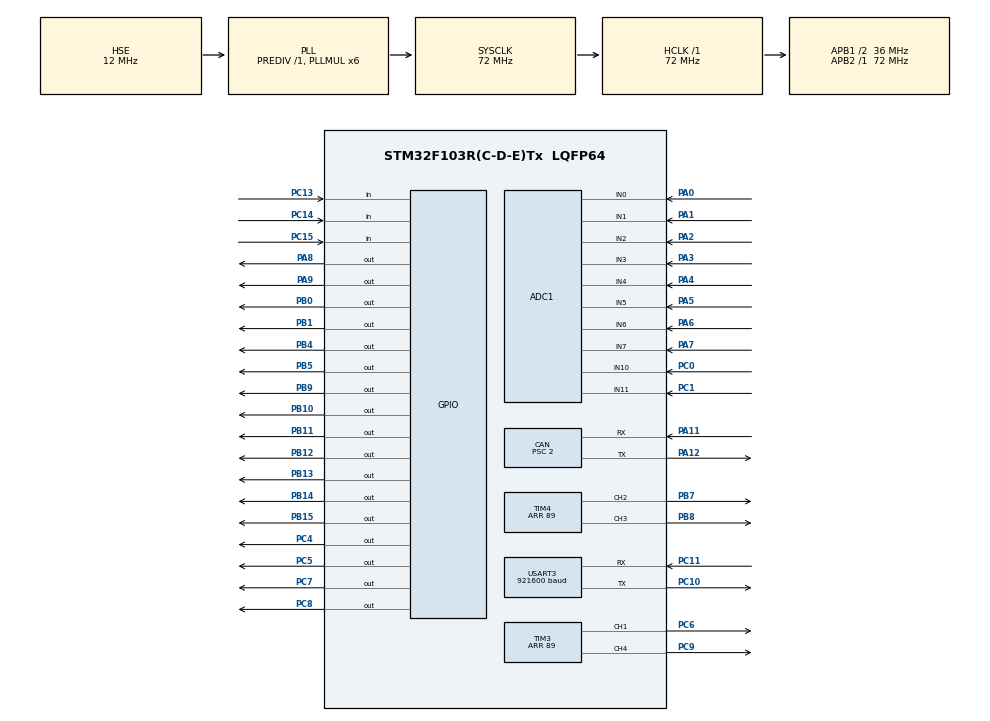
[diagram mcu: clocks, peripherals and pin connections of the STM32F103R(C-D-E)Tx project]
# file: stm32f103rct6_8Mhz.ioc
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ADC1.Channel-0\#ChannelRegularConversion=ADC_CHANNEL_0
ADC1.Channel-1\#ChannelRegularConversion=ADC_CHANNEL_1
ADC1.Channel-2\#ChannelRegularConversion=ADC_CHANNEL_2
ADC1.Channel-3\#ChannelRegularConversion=ADC_CHANNEL_3
ADC1.Channel-4\#ChannelRegularConversion=ADC_CHANNEL_4
ADC1.Channel-5\#ChannelRegularConversion=ADC_CHANNEL_5
ADC1.Channel-6\#ChannelRegularConversion=ADC_CHANNEL_6
ADC1.Channel-7\#ChannelRegularConversion=ADC_CHANNEL_7
ADC1.Channel-8\#ChannelRegularConversion=ADC_CHANNEL_10
ADC1.Channel-9\#ChannelRegularConversion=ADC_CHANNEL_11
ADC1.ContinuousConvMode=ENABLE
ADC1.NbrOfConversion=10
ADC1.NbrOfConversionFlag=1
ADC1.Rank-0\#ChannelRegularConversion=1
ADC1.Rank-1\#ChannelRegularConversion=2
ADC1.Rank-2\#ChannelRegularConversion=3
ADC1.Rank-3\#ChannelRegularConversion=4
ADC1.Rank-4\#ChannelRegularConversion=5
ADC1.Rank-5\#ChannelRegularConversion=6
ADC1.Rank-6\#ChannelRegularConversion=7
ADC1.Rank-7\#ChannelRegularConversion=8
ADC1.Rank-8\#ChannelRegularConversion=9
ADC1.Rank-9\#ChannelRegularConversion=10
ADC1.SamplingTime-0\#ChannelRegularConversion=ADC_SAMPLETIME_1CYCLE_5
ADC1.SamplingTime-1\#ChannelRegularConversion=ADC_SAMPLETIME_1CYCLE_5
ADC1.SamplingTime-2\#ChannelRegularConversion=ADC_SAMPLETIME_1CYCLE_5
ADC1.SamplingTime-3\#ChannelRegularConversion=ADC_SAMPLETIME_1CYCLE_5
ADC1.SamplingTime-4\#ChannelRegularConversion=ADC_SAMPLETIME_1CYCLE_5
ADC1.SamplingTime-5\#ChannelRegularConversion=ADC_SAMPLETIME_1CYCLE_5
ADC1.SamplingTime-6\#ChannelRegularConversion=ADC_SAMPLETIME_1CYCLE_5
ADC1.SamplingTime-7\#ChannelRegularConversion=ADC_SAMPLETIME_1CYCLE_5
ADC1.SamplingTime-8\#ChannelRegularConversion=ADC_SAMPLETIME_1CYCLE_5
ADC1.SamplingTime-9\#ChannelRegularConversion=ADC_SAMPLETIME_1CYCLE_5
ADC1.master=1
CAN.ABOM=ENABLE
CAN.BS1=CAN_BS1_14TQ
CAN.BS2=CAN_BS2_3TQ
CAN.CalculateBaudRate=1000000
CAN.CalculateTimeBit=1000
CAN.CalculateTimeQuantum=55.55555555555556
CAN.Prescaler=2
Dma.ADC1.4.Direction=DMA_PERIPH_TO_MEMORY
Dma.ADC1.4.Instance=DMA1_Channel1
Dma.ADC1.4.MemDataAlignment=DMA_MDATAALIGN_HALFWORD
Dma.ADC1.4.MemInc=DMA_MINC_ENABLE
Dma.ADC1.4.Mode=DMA_CIRCULAR
Dma.ADC1.4.PeriphDataAlignment=DMA_PDATAALIGN_HALFWORD
Dma.ADC1.4.PeriphInc=DMA_PINC_DISABLE
Dma.ADC1.4.Priority=DMA_PRIORITY_LOW
Dma.Request0=TIM3_CH1/TRIG
Dma.Request1=TIM3_CH4/UP
Dma.Request2=TIM4_CH2
Dma.Request3=TIM4_CH3
Dma.Request4=ADC1
Dma.Request5=USART3_TX
Dma.TIM3_CH1/TRIG.0.Direction=DMA_MEMORY_TO_PERIPH
Dma.TIM3_CH1/TRIG.0.Instance=DMA1_Channel6
Dma.TIM3_CH1/TRIG.0.MemDataAlignment=DMA_MDATAALIGN_HALFWORD
Dma.TIM3_CH1/TRIG.0.MemInc=DMA_MINC_ENABLE
Dma.TIM3_CH1/TRIG.0.Mode=DMA_NORMAL
Dma.TIM3_CH1/TRIG.0.PeriphDataAlignment=DMA_PDATAALIGN_HALFWORD
Dma.TIM3_CH1/TRIG.0.PeriphInc=DMA_PINC_DISABLE
Dma.TIM3_CH1/TRIG.0.Priority=DMA_PRIORITY_HIGH
Dma.TIM3_CH4/UP.1.Direction=DMA_MEMORY_TO_PERIPH
Dma.TIM3_CH4/UP.1.Instance=DMA1_Channel3
Dma.TIM3_CH4/UP.1.MemDataAlignment=DMA_MDATAALIGN_HALFWORD
Dma.TIM3_CH4/UP.1.MemInc=DMA_MINC_ENABLE
Dma.TIM3_CH4/UP.1.Mode=DMA_NORMAL
Dma.TIM3_CH4/UP.1.PeriphDataAlignment=DMA_PDATAALIGN_HALFWORD
Dma.TIM3_CH4/UP.1.PeriphInc=DMA_PINC_DISABLE
Dma.TIM3_CH4/UP.1.Priority=DMA_PRIORITY_HIGH
Dma.TIM4_CH2.2.Direction=DMA_MEMORY_TO_PERIPH
Dma.TIM4_CH2.2.Instance=DMA1_Channel4
Dma.TIM4_CH2.2.MemDataAlignment=DMA_MDATAALIGN_HALFWORD
Dma.TIM4_CH2.2.MemInc=DMA_MINC_ENABLE
Dma.TIM4_CH2.2.Mode=DMA_NORMAL
Dma.TIM4_CH2.2.PeriphDataAlignment=DMA_PDATAALIGN_HALFWORD
Dma.TIM4_CH2.2.PeriphInc=DMA_PINC_DISABLE
Dma.TIM4_CH2.2.Priority=DMA_PRIORITY_LOW
Dma.TIM4_CH3.3.Direction=DMA_MEMORY_TO_PERIPH
Dma.TIM4_CH3.3.Instance=DMA1_Channel5
Dma.TIM4_CH3.3.MemDataAlignment=DMA_MDATAALIGN_HALFWORD
Dma.TIM4_CH3.3.MemInc=DMA_MINC_ENABLE
Dma.TIM4_CH3.3.Mode=DMA_NORMAL
Dma.TIM4_CH3.3.PeriphDataAlignment=DMA_PDATAALIGN_HALFWORD
Dma.TIM4_CH3.3.PeriphInc=DMA_PINC_DISABLE
Dma.TIM4_CH3.3.Priority=DMA_PRIORITY_LOW
Dma.USART3_TX.5.Direction=DMA_MEMORY_TO_PERIPH
Dma.USART3_TX.5.Instance=DMA1_Channel2
Dma.USART3_TX.5.MemDataAlignment=DMA_MDATAALIGN_BYTE
Dma.USART3_TX.5.MemInc=DMA_MINC_ENABLE
Dma.USART3_TX.5.Mode=DMA_NORMAL
Dma.USART3_TX.5.PeriphDataAlignment=DMA_PDATAALIGN_BYTE
Dma.USART3_TX.5.PeriphInc=DMA_PINC_DISABLE
Dma.USART3_TX.5.Priority=DMA_PRIORITY_LOW
Mcu.Family=STM32F1
Mcu.Name=STM32F103R(C-D-E)Tx
Mcu.Package=LQFP64
NVIC.CAN1_RX1_IRQn=true\:3\:0\:true\:false\:true\:true\:true\:true
NVIC.DMA1_Channel1_IRQn=true\:0\:0\:false\:false\:true\:false\:true\:true
NVIC.DMA1_Channel2_IRQn=true\:0\:0\:false\:false\:true\:false\:true\:true
NVIC.DMA1_Channel3_IRQn=true\:1\:0\:true\:false\:true\:false\:true\:true
NVIC.DMA1_Channel4_IRQn=true\:1\:0\:true\:false\:true\:false\:true\:true
NVIC.DMA1_Channel5_IRQn=true\:1\:0\:true\:false\:true\:false\:true\:true
NVIC.DMA1_Channel6_IRQn=true\:1\:0\:true\:false\:true\:false\:true\:true
NVIC.PriorityGroup=NVIC_PRIORITYGROUP_4
NVIC.TIM5_IRQn=true\:2\:0\:true\:false\:true\:true\:true\:true
NVIC.USART3_IRQn=true\:3\:0\:true\:false\:true\:true\:true\:true
NVIC.USB_LP_CAN1_RX0_IRQn=true\:3\:0\:true\:false\:true\:true\:true\:true
PA0-WKUP.Signal=ADCx_IN0
PA1.Signal=ADCx_IN1
PA11.GPIO_PuPd=GPIO_PULLUP
PA11.Mode=CAN_Activate
PA11.Signal=CAN_RX
PA12.Mode=CAN_Activate
PA12.Signal=CAN_TX
PA13.Mode=Serial_Wire
PA13.Signal=SYS_JTMS-SWDIO
PA14.Mode=Serial_Wire
PA14.Signal=SYS_JTCK-SWCLK
PA2.Signal=ADCx_IN2
PA3.Signal=ADCx_IN3
PA4.Signal=ADCx_IN4
PA5.Signal=ADCx_IN5
PA6.Signal=ADCx_IN6
PA7.Signal=ADCx_IN7
PA8.Signal=GPIO_Output
PA9.Signal=GPIO_Output
PB0.Signal=GPIO_Output
PB1.Signal=GPIO_Output
PB10.Signal=GPIO_Output
PB11.GPIO_PuPd=GPIO_NOPULL
PB11.PinState=GPIO_PIN_RESET
PB11.Signal=GPIO_Output
PB12.Signal=GPIO_Output
PB13.Signal=GPIO_Output
PB14.Signal=GPIO_Output
PB15.Signal=GPIO_Output
PB4.Signal=GPIO_Output
PB5.Signal=GPIO_Output
PB7.GPIO_ModeDefaultPP=GPIO_MODE_AF_PP
PB7.GPIO_Speed=GPIO_SPEED_FREQ_HIGH
PB7.Signal=S_TIM4_CH2
PB8.GPIO_ModeDefaultPP=GPIO_MODE_AF_PP
PB8.GPIO_Speed=GPIO_SPEED_FREQ_HIGH
PB8.Signal=S_TIM4_CH3
PB9.Signal=GPIO_Output
PC0.Signal=ADCx_IN10
PC1.Signal=ADCx_IN11
PC10.Mode=Asynchronous
PC10.Signal=USART3_TX
PC11.GPIO_PuPd=GPIO_PULLUP
PC11.Mode=Asynchronous
PC11.Signal=USART3_RX
PC13-TAMPER-RTC.Signal=GPIO_Input
PC14-OSC32_IN.Signal=GPIO_Input
PC15-OSC32_OUT.Signal=GPIO_Input
PC4.Signal=GPIO_Output
PC5.Signal=GPIO_Output
PC6.GPIO_ModeDefaultPP=GPIO_MODE_AF_PP
PC6.GPIO_Speed=GPIO_SPEED_FREQ_HIGH
PC6.Signal=S_TIM3_CH1
PC7.Signal=GPIO_Output
PC8.Signal=GPIO_Output
PC9.GPIO_ModeDefaultPP=GPIO_MODE_AF_PP
PC9.GPIO_Speed=GPIO_SPEED_FREQ_HIGH
PC9.Signal=S_TIM3_CH4
PD0-OSC_IN.Mode=HSE-External-Oscillator
PD0-OSC_IN.Signal=RCC_OSC_IN
PD1-OSC_OUT.Mode=HSE-External-Oscillator
PD1-OSC_OUT.Signal=RCC_OSC_OUT
ProjectManager.HeapSize=0x200
ProjectManager.StackSize=0x400
ProjectManager.TargetToolchain=MDK-ARM V5.32
RCC.ADCPresc=RCC_ADCPCLK2_DIV6
RCC.AHBFreq_Value=72000000
RCC.APB1CLKDivider=RCC_HCLK_DIV2
RCC.APB1Freq_Value=36000000
RCC.APB1TimFreq_Value=72000000
RCC.APB2Freq_Value=72000000
RCC.APB2TimFreq_Value=72000000
RCC.EnbaleCSS=true
RCC.HCLKFreq_Value=72000000
RCC.HSE_VALUE=12000000
RCC.PLLMUL=RCC_PLL_MUL6
RCC.PLLSourceVirtual=RCC_PLLSOURCE_HSE
RCC.SYSCLKFreq_VALUE=72000000
RCC.SYSCLKSource=RCC_SYSCLKSOURCE_PLLCLK
RCC.USBFreq_Value=72000000
SH.ADCx_IN0.0=ADC1_IN0,IN0
SH.ADCx_IN1.0=ADC1_IN1,IN1
SH.ADCx_IN10.0=ADC1_IN10,IN10
SH.ADCx_IN11.0=ADC1_IN11,IN11
SH.ADCx_IN2.0=ADC1_IN2,IN2
SH.ADCx_IN3.0=ADC1_IN3,IN3
SH.ADCx_IN4.0=ADC1_IN4,IN4
SH.ADCx_IN5.0=ADC1_IN5,IN5
SH.ADCx_IN6.0=ADC1_IN6,IN6
SH.ADCx_IN7.0=ADC1_IN7,IN7
SH.S_TIM3_CH1.0=TIM3_CH1,PWM Generation1 CH1
SH.S_TIM3_CH4.0=TIM3_CH4,PWM Generation4 CH4
SH.S_TIM4_CH2.0=TIM4_CH2,PWM Generation2 CH2
SH.S_TIM4_CH3.0=TIM4_CH3,PWM Generation3 CH3
TIM3.AutoReloadPreload=TIM_AUTORELOAD_PRELOAD_DISABLE
TIM3.Channel-PWM\ Generation1\ CH1=TIM_CHANNEL_1
TIM3.Channel-PWM\ Generation4\ CH4=TIM_CHANNEL_4
TIM3.Period=89
TIM4.AutoReloadPreload=TIM_AUTORELOAD_PRELOAD_ENABLE
TIM4.Channel-PWM\ Generation2\ CH2=TIM_CHANNEL_2
TIM4.Channel-PWM\ Generation3\ CH3=TIM_CHANNEL_3
TIM4.Period=89
TIM5.Period=25-1
TIM5.Prescaler=72-1
USART3.BaudRate=921600
USART3.VirtualMode=VM_ASYNC
VP_TIM3_VS_ClockSourceINT.Mode=Internal
VP_TIM4_VS_ClockSourceINT.Mode=Internal
VP_TIM5_VS_ClockSourceINT.Mode=Internal
board=custom

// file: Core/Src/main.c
/* USER CODE BEGIN Header */
/**
  ******************************************************************************
  * @file           : main.c
  * @brief          : Main program body
  ******************************************************************************
  * @attention
  *
  * Copyright (c) 2026 STMicroelectronics.
  * All rights reserved.
  *
  * This software is licensed under terms that can be found in the LICENSE file
  * in the root directory of this software component.
  * If no LICENSE file comes with this software, it is provided AS-IS.
  *
  ******************************************************************************
  */
/* USER CODE END Header */
#include "main.h"
#include "adc.h"
#include "can.h"
#include "dma.h"
#include "tim.h"
#include "usart.h"
#include "gpio.h"

/* USER CODE BEGIN Includes */
#include "robot_config.h"

/* USER CODE END Includes */

void SystemClock_Config(void);

int main(void)
{

  /* MCU Configuration--------------------------------------------------------*/

  /* Reset of all peripherals, Initializes the Flash interface and the Systick. */
  HAL_Init();

  /* Configure the system clock */
  SystemClock_Config();

  /* Initialize all configured peripherals */
  MX_GPIO_Init();
  MX_DMA_Init();
  MX_USART3_UART_Init();
  MX_ADC1_Init();
  MX_TIM3_Init();
  MX_TIM4_Init();
  MX_CAN_Init();
  MX_TIM5_Init();
  /* USER CODE BEGIN 2 */
      /*
    {GPIOA, GPIO_PIN_8},//1环
    {GPIOC, GPIO_PIN_7},
    {GPIOB, GPIO_PIN_12},
    {GPIOB, GPIO_PIN_13},
    {GPIOB, GPIO_PIN_14},
    {GPIOB, GPIO_PIN_15},
    {GPIOB, GPIO_PIN_11},
    {GPIOB, GPIO_PIN_10},
    {GPIOC, GPIO_PIN_5},
    {GPIOC, GPIO_PIN_4}
    */
    //测试代码,直接写10个灯珠的引脚,然后关闭,验证引脚连接和控制逻辑是否正确
    #if 0
    HAL_GPIO_WritePin(GPIOB, GPIO_PIN_0, GPIO_PIN_SET); // 红色控制引脚
    HAL_GPIO_WritePin(GPIOB, GPIO_PIN_1, GPIO_PIN_SET); // 蓝色控制引脚
    HAL_GPIO_WritePin(GPIOA, GPIO_PIN_8, GPIO_PIN_SET); // 1环
    HAL_GPIO_WritePin(GPIOA, GPIO_PIN_8, GPIO_PIN_RESET); // 1环灭
    HAL_GPIO_WritePin(GPIOC, GPIO_PIN_7, GPIO_PIN_SET); // 2环
    HAL_GPIO_WritePin(GPIOC, GPIO_PIN_7, GPIO_PIN_RESET); // 2环灭
    HAL_GPIO_WritePin(GPIOB, GPIO_PIN_12, GPIO_PIN_SET); // 3环 ,cuo
    HAL_GPIO_WritePin(GPIOB, GPIO_PIN_12, GPIO_PIN_RESET); // 3环灭
    HAL_GPIO_WritePin(GPIOB, GPIO_PIN_13, GPIO_PIN_SET); // 4环
    HAL_GPIO_WritePin(GPIOB, GPIO_PIN_13, GPIO_PIN_RESET); // 4环灭
    HAL_GPIO_WritePin(GPIOB, GPIO_PIN_14, GPIO_PIN_SET); // 5环
    HAL_GPIO_WritePin(GPIOB, GPIO_PIN_14, GPIO_PIN_RESET); // 5环灭
    HAL_GPIO_WritePin(GPIOB, GPIO_PIN_15, GPIO_PIN_SET); // 6环
    HAL_GPIO_WritePin(GPIOB, GPIO_PIN_15, GPIO_PIN_RESET); // 6环灭
    HAL_GPIO_WritePin(GPIOB, GPIO_PIN_11, GPIO_PIN_SET); // 7环 , 3
    HAL_GPIO_WritePin(GPIOB, GPIO_PIN_11, GPIO_PIN_RESET); // 7环灭
    HAL_GPIO_WritePin(GPIOB, GPIO_PIN_10, GPIO_PIN_SET); // 8环 ,4
    HAL_GPIO_WritePin(GPIOB, GPIO_PIN_10, GPIO_PIN_RESET); // 8环灭
    HAL_GPIO_WritePin(GPIOC, GPIO_PIN_5, GPIO_PIN_SET); // 9环,5
    HAL_GPIO_WritePin(GPIOC, GPIO_PIN_5, GPIO_PIN_RESET); // 9环灭
    HAL_GPIO_WritePin(GPIOC, GPIO_PIN_4, GPIO_PIN_SET); // 10环  , 6
    HAL_GPIO_WritePin(GPIOC, GPIO_PIN_4, GPIO_PIN_RESET); // 10环灭 ,
    #endif
    System_Tasks_Init();

  /* USER CODE END 2 */

  /* Infinite loop */
  /* USER CODE BEGIN WHILE */
    while (1)
    {
        System_Tasks_Run();
    /* USER CODE END WHILE */

    }
}

void SystemClock_Config(void)
{
  RCC_OscInitTypeDef RCC_OscInitStruct = {0};
  RCC_ClkInitTypeDef RCC_ClkInitStruct = {0};
  RCC_PeriphCLKInitTypeDef PeriphClkInit = {0};

  /** Initializes the RCC Oscillators according to the specified parameters
  * in the RCC_OscInitTypeDef structure.
  */
  RCC_OscInitStruct.OscillatorType = RCC_OSCILLATORTYPE_HSE;
  RCC_OscInitStruct.HSEState = RCC_HSE_ON;
  RCC_OscInitStruct.HSEPredivValue = RCC_HSE_PREDIV_DIV1;
  RCC_OscInitStruct.HSIState = RCC_HSI_ON;
  RCC_OscInitStruct.PLL.PLLState = RCC_PLL_ON;
  RCC_OscInitStruct.PLL.PLLSource = RCC_PLLSOURCE_HSE;
  RCC_OscInitStruct.PLL.PLLMUL = RCC_PLL_MUL6;
  if (HAL_RCC_OscConfig(&RCC_OscInitStruct) != HAL_OK)
  {
    Error_Handler();
  }

  /** Initializes the CPU, AHB and APB buses clocks
  */
  RCC_ClkInitStruct.ClockType = RCC_CLOCKTYPE_HCLK|RCC_CLOCKTYPE_SYSCLK
                              |RCC_CLOCKTYPE_PCLK1|RCC_CLOCKTYPE_PCLK2;
  RCC_ClkInitStruct.SYSCLKSource = RCC_SYSCLKSOURCE_PLLCLK;
  RCC_ClkInitStruct.AHBCLKDivider = RCC_SYSCLK_DIV1;
  RCC_ClkInitStruct.APB1CLKDivider = RCC_HCLK_DIV2;
  RCC_ClkInitStruct.APB2CLKDivider = RCC_HCLK_DIV1;

  if (HAL_RCC_ClockConfig(&RCC_ClkInitStruct, FLASH_LATENCY_2) != HAL_OK)
  {
    Error_Handler();
  }
  PeriphClkInit.PeriphClockSelection = RCC_PERIPHCLK_ADC;
  PeriphClkInit.AdcClockSelection = RCC_ADCPCLK2_DIV6;
  if (HAL_RCCEx_PeriphCLKConfig(&PeriphClkInit) != HAL_OK)
  {
    Error_Handler();
  }

  /** Enables the Clock Security System
  */
  HAL_RCC_EnableCSS();
}

void Error_Handler(void)
{
  __disable_irq();
  while (1)
  {
  }
}
